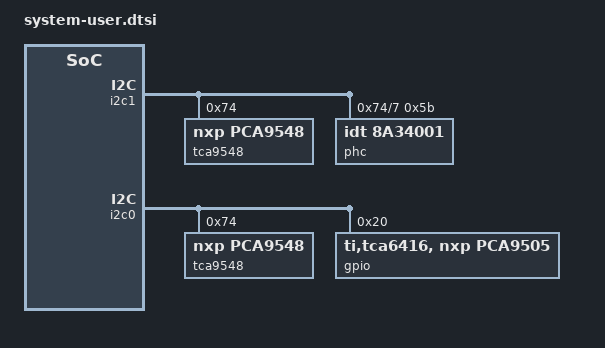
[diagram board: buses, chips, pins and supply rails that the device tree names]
/include/ "system-conf.dtsi"
/ {

};

&mrmac_4x25g_gt_wrapper_gt_quad_base {
    status = "disabled";
};

&mrmac_4x25g_gt_wrapper_axi_gpio_gt_rate_reset_ctl_0 {
    status = "disabled";
    reg = <0x0 0xa4090000 0x0 0x40000>;
};

&mrmac_4x25g_gt_wrapper_axi_gpio_gt_rate_reset_ctl_1 {
    status = "disabled";
};

&mrmac_4x25g_gt_wrapper_axi_gpio_gt_rate_reset_ctl_2 {
    status = "disabled";
};

&mrmac_4x25g_gt_wrapper_axi_gpio_gt_rate_reset_ctl_3 {
    status = "disabled";
};

&mrmac_4x25g_gt_wrapper_axi_gpio_gt_reset_mask {
    status = "disabled";
};

&DMA_0_axi_dma_0 {
    status = "disabled";
    xlnx,addrwidth = /bits/ 8 <0x40>;
    xlnx,include-dre;
};
&DMA_1_axi_dma_0 {
    status = "disabled";
    xlnx,addrwidth = /bits/ 8 <0x40>;
    xlnx,include-dre;
};
&DMA_2_axi_dma_0 {
    status = "disabled";
    xlnx,addrwidth = /bits/ 8 <0x40>;
    xlnx,include-dre;
};
&DMA_3_axi_dma_0 {
    status = "disabled";
    xlnx,addrwidth = /bits/ 8 <0x40>;
    xlnx,include-dre;
};

&mrmac_4x25g_core {

    axistream-connected = <&DMA_0_axi_dma_0>;
    xlnx,mrmac-rate = <25000>;
    xlnx,num-queues = /bits/ 16 <0x1>;

    xlnx,gtpll = <&mrmac_4x25g_gt_wrapper_axi_gpio_gt_reset_mask>;

    local-mac-address = [00 0a 35 00 00 00];
};

&mrmac_4x25g_core_1 {

    axistream-connected = <&DMA_1_axi_dma_0>;
    xlnx,mrmac-rate = <25000>;
    xlnx,num-queues = /bits/ 16 <0x1>;

    xlnx,gtpll = <&mrmac_4x25g_gt_wrapper_axi_gpio_gt_reset_mask>;

    local-mac-address = [00 0a 35 00 00 01];
};

&mrmac_4x25g_core_2 {

    axistream-connected = <&DMA_2_axi_dma_0>;
    xlnx,mrmac-rate = <25000>;
    xlnx,num-queues = /bits/ 16 <0x1>;

    xlnx,gtpll = <&mrmac_4x25g_gt_wrapper_axi_gpio_gt_reset_mask>;

    local-mac-address = [00 0a 35 00 00 02];
};

&mrmac_4x25g_core_3 {

    axistream-connected = <&DMA_3_axi_dma_0>;
    xlnx,mrmac-rate = <25000>;
    xlnx,num-queues = /bits/ 16 <0x1>;

    xlnx,gtpll = <&mrmac_4x25g_gt_wrapper_axi_gpio_gt_reset_mask>;

    local-mac-address = [00 0a 35 00 00 03];
};

&i2c1 { /* PMC_MIO44/45 */
        /* U35 TCA9548A switch */
        tca9548@74 {
                compatible = "nxp,pca9548";
                #pinctrl-names = "default";
                #address-cells = <0x1>;
                #size-cells = <0x0>;
                reg = <0x74>;
                #i2c-mux-idle-disconnect;

                i2c@7 {
                  #address-cells = <0x1>;
                  #size-cells = <0x0>;
                  reg = <0x7>;

                      phc@5b {
                              compatible = "idt,8a34001";
                              reg = <0x5b>;
                      };
              };
      };
};

&i2c0 { /* PMC_MIO46/47 */

        /* U33 TCA9548A switch */
        tca9548@74 {
                compatible = "nxp,pca9548";
                #pinctrl-names = "default";
                #address-cells = <0x1>;
                #size-cells = <0x0>;
                reg = <0x74>;
                #i2c-mux-idle-disconnect;
      };

      /* U233 TCA6416A GPIO Exander */
      gpio@20 {
                compatible = "ti,tca6416, nxp,pca9505";
                reg = <0x20>;
                pinctrl-names = "default";
                gpio-controller;
    };
};


